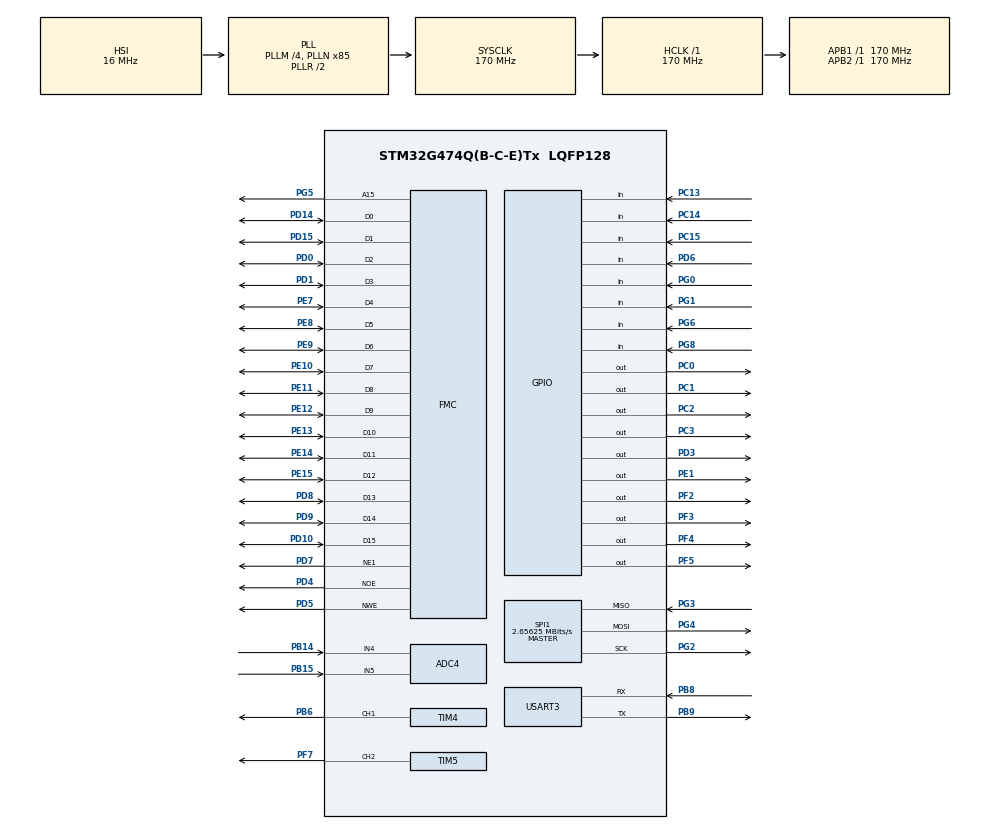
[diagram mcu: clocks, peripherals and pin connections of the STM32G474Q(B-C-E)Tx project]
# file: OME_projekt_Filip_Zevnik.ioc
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ADC4.Channel-0\#ChannelRegularConversion=ADC_CHANNEL_4
ADC4.Channel-1\#ChannelRegularConversion=ADC_CHANNEL_5
ADC4.DMAContinuousRequests=ENABLE
ADC4.ExternalTrigConv=ADC_EXTERNALTRIG_T1_TRGO
ADC4.NbrOfConversion=2
ADC4.NbrOfConversionFlag=1
ADC4.OffsetNumber-0\#ChannelRegularConversion=ADC_OFFSET_NONE
ADC4.OffsetNumber-1\#ChannelRegularConversion=ADC_OFFSET_NONE
ADC4.Rank-0\#ChannelRegularConversion=1
ADC4.Rank-1\#ChannelRegularConversion=2
ADC4.SamplingTime-0\#ChannelRegularConversion=ADC_SAMPLETIME_640CYCLES_5
ADC4.SamplingTime-1\#ChannelRegularConversion=ADC_SAMPLETIME_640CYCLES_5
Dma.ADC4.1.Direction=DMA_PERIPH_TO_MEMORY
Dma.ADC4.1.EventEnable=DISABLE
Dma.ADC4.1.Instance=DMA1_Channel1
Dma.ADC4.1.MemDataAlignment=DMA_MDATAALIGN_HALFWORD
Dma.ADC4.1.MemInc=DMA_MINC_ENABLE
Dma.ADC4.1.Mode=DMA_CIRCULAR
Dma.ADC4.1.PeriphDataAlignment=DMA_PDATAALIGN_HALFWORD
Dma.ADC4.1.PeriphInc=DMA_PINC_DISABLE
Dma.ADC4.1.Polarity=HAL_DMAMUX_REQ_GEN_RISING
Dma.ADC4.1.Priority=DMA_PRIORITY_LOW
Dma.ADC4.1.RequestNumber=1
Dma.ADC4.1.SignalID=NONE
Dma.ADC4.1.SyncEnable=DISABLE
Dma.ADC4.1.SyncPolarity=HAL_DMAMUX_SYNC_NO_EVENT
Dma.ADC4.1.SyncRequestNumber=1
Dma.ADC4.1.SyncSignalID=NONE
Dma.MEMTOMEM.0.Direction=DMA_MEMORY_TO_MEMORY
Dma.MEMTOMEM.0.EventEnable=DISABLE
Dma.MEMTOMEM.0.Instance=DMA1_Channel2
Dma.MEMTOMEM.0.MemDataAlignment=DMA_MDATAALIGN_HALFWORD
Dma.MEMTOMEM.0.MemInc=DMA_MINC_DISABLE
Dma.MEMTOMEM.0.Mode=DMA_NORMAL
Dma.MEMTOMEM.0.PeriphDataAlignment=DMA_PDATAALIGN_HALFWORD
Dma.MEMTOMEM.0.PeriphInc=DMA_PINC_ENABLE
Dma.MEMTOMEM.0.Polarity=HAL_DMAMUX_REQ_GEN_RISING
Dma.MEMTOMEM.0.Priority=DMA_PRIORITY_LOW
Dma.MEMTOMEM.0.RequestNumber=1
Dma.MEMTOMEM.0.SignalID=NONE
Dma.MEMTOMEM.0.SyncEnable=DISABLE
Dma.MEMTOMEM.0.SyncPolarity=HAL_DMAMUX_SYNC_NO_EVENT
Dma.MEMTOMEM.0.SyncRequestNumber=1
Dma.MEMTOMEM.0.SyncSignalID=NONE
Dma.Request0=MEMTOMEM
Dma.Request1=ADC4
FMC.AddressSetupTime1=1
FMC.BusTurnAroundDuration1=1
FMC.DataHoldTime1=1
FMC.DataSetupTime1=1
Mcu.Family=STM32G4
Mcu.Name=STM32G474Q(B-C-E)Tx
Mcu.Package=LQFP128
NVIC.DMA1_Channel1_IRQn=true\:0\:0\:false\:false\:true\:false\:true
NVIC.DMA1_Channel2_IRQn=true\:0\:0\:false\:false\:true\:true\:true
NVIC.PriorityGroup=NVIC_PRIORITYGROUP_4
NVIC.TIM2_IRQn=true\:0\:0\:false\:false\:true\:true\:true
NVIC.TIM6_DAC_IRQn=true\:15\:0\:true\:false\:true\:true\:true
NVIC.USART3_IRQn=true\:0\:0\:false\:false\:true\:true\:true
PB14.Mode=IN4-Single-Ended
PB14.Signal=ADC4_IN4
PB15.Mode=IN5-Single-Ended
PB15.Signal=ADC4_IN5
PB6.Signal=S_TIM4_CH1
PB8-BOOT0.Mode=Asynchronous
PB8-BOOT0.Signal=USART3_RX
PB9.Mode=Asynchronous
PB9.Signal=USART3_TX
PC0.Signal=GPIO_Output
PC1.Signal=GPIO_Output
PC13.GPIO_PuPd=GPIO_PULLUP
PC13.Signal=GPIO_Input
PC14-OSC32_IN.GPIO_PuPd=GPIO_PULLUP
PC14-OSC32_IN.Signal=GPIO_Input
PC15-OSC32_OUT.GPIO_PuPd=GPIO_PULLUP
PC15-OSC32_OUT.Signal=GPIO_Input
PC2.Signal=GPIO_Output
PC3.GPIO_ModeDefaultOutputPP=GPIO_MODE_OUTPUT_PP
PC3.GPIO_PuPd=GPIO_PULLUP
PC3.Signal=GPIO_Output
PD0.Signal=FMC_D2_DA2
PD1.Signal=FMC_D3_DA3
PD10.Signal=FMC_D15_DA15
PD14.Signal=FMC_D0_DA0
PD15.Signal=FMC_D1_DA1
PD3.Signal=GPIO_Output
PD4.Signal=FMC_NOE
PD5.Signal=FMC_NWE
PD6.Signal=GPIO_Input
PD7.Mode=NorPsramChipSelect1_1
PD7.Signal=FMC_NE1
PD8.Signal=FMC_D13_DA13
PD9.Signal=FMC_D14_DA14
PE1.Signal=GPIO_Output
PE10.Signal=FMC_D7_DA7
PE11.Signal=FMC_D8_DA8
PE12.Signal=FMC_D9_DA9
PE13.Signal=FMC_D10_DA10
PE14.Signal=FMC_D11_DA11
PE15.Signal=FMC_D12_DA12
PE7.Signal=FMC_D4_DA4
PE8.Signal=FMC_D5_DA5
PE9.Signal=FMC_D6_DA6
PF2.Signal=GPIO_Output
PF3.Signal=GPIO_Output
PF4.Signal=GPIO_Output
PF5.Signal=GPIO_Output
PF7.Signal=S_TIM5_CH2
PG0.GPIO_Mode=GPIO_MODE_INPUT
PG0.GPIO_PuPd=GPIO_PULLUP
PG0.Signal=GPIO_Input
PG1.GPIO_Mode=GPIO_MODE_INPUT
PG1.GPIO_PuPd=GPIO_PULLUP
PG1.Signal=GPIO_Input
PG2.Mode=Full_Duplex_Master
PG2.Signal=SPI1_SCK
PG3.Mode=Full_Duplex_Master
PG3.Signal=SPI1_MISO
PG4.Mode=Full_Duplex_Master
PG4.Signal=SPI1_MOSI
PG5.Signal=FMC_A15
PG6.GPIO_Mode=GPIO_MODE_INPUT
PG6.GPIO_PuPd=GPIO_PULLUP
PG6.Signal=GPIO_Input
PG8.GPIO_Mode=GPIO_MODE_INPUT
PG8.GPIO_PuPd=GPIO_PULLUP
PG8.Signal=GPIO_Input
ProjectManager.HeapSize=0x200
ProjectManager.StackSize=0x400
ProjectManager.TargetToolchain=STM32CubeIDE
RCC.ADC12Freq_Value=170000000
RCC.ADC345Freq_Value=170000000
RCC.AHBFreq_Value=170000000
RCC.APB1Freq_Value=170000000
RCC.APB1TimFreq_Value=170000000
RCC.APB2Freq_Value=170000000
RCC.APB2TimFreq_Value=170000000
RCC.CK48CLockSelection=RCC_USBCLKSOURCE_HSI48
RCC.CortexFreq_Value=170000000
RCC.EXTERNAL_CLOCK_VALUE=12288000
RCC.HCLKFreq_Value=170000000
RCC.HSE_VALUE=8000000
RCC.HSI48_VALUE=48000000
RCC.HSI_VALUE=16000000
RCC.LSE_VALUE=32768
RCC.PLLM=RCC_PLLM_DIV4
RCC.PLLN=85
RCC.PLLQ=RCC_PLLQ_DIV6
RCC.SYSCLKFreq_VALUE=170000000
RCC.SYSCLKSource=RCC_SYSCLKSOURCE_PLLCLK
RCC.USBFreq_Value=48000000
RCC.VCOOutputFreq_Value=340000000
SH.FMC_A15.0=FMC_A15,A15_1
SH.FMC_D0_DA0.0=FMC_D0,16b-d1
SH.FMC_D10_DA10.0=FMC_D10,16b-d1
SH.FMC_D11_DA11.0=FMC_D11,16b-d1
SH.FMC_D12_DA12.0=FMC_D12,16b-d1
SH.FMC_D13_DA13.0=FMC_D13,16b-d1
SH.FMC_D14_DA14.0=FMC_D14,16b-d1
SH.FMC_D15_DA15.0=FMC_D15,16b-d1
SH.FMC_D1_DA1.0=FMC_D1,16b-d1
SH.FMC_D2_DA2.0=FMC_D2,16b-d1
SH.FMC_D3_DA3.0=FMC_D3,16b-d1
SH.FMC_D4_DA4.0=FMC_D4,16b-d1
SH.FMC_D5_DA5.0=FMC_D5,16b-d1
SH.FMC_D6_DA6.0=FMC_D6,16b-d1
SH.FMC_D7_DA7.0=FMC_D7,16b-d1
SH.FMC_D8_DA8.0=FMC_D8,16b-d1
SH.FMC_D9_DA9.0=FMC_D9,16b-d1
SH.FMC_NOE.0=FMC_NOE,Lcd1
SH.FMC_NWE.0=FMC_NWE,Lcd1
SH.S_TIM4_CH1.0=TIM4_CH1,PWM Generation1 CH1
SH.S_TIM5_CH2.0=TIM5_CH2,PWM Generation2 CH2
SPI1.BaudRatePrescaler=SPI_BAUDRATEPRESCALER_64
SPI1.CalculateBaudRate=2.65625 MBits/s
SPI1.DataSize=SPI_DATASIZE_8BIT
SPI1.Direction=SPI_DIRECTION_2LINES
SPI1.Mode=SPI_MODE_MASTER
SPI1.NSSPMode=SPI_NSS_PULSE_DISABLE
SPI1.VirtualType=VM_MASTER
TIM1.PeriodNoDither=9999
TIM1.TIM_MasterOutputTrigger=TIM_TRGO_UPDATE
TIM2.PeriodNoDither=10652
TIM2.Prescaler=1
TIM4.Channel-PWM\ Generation1\ CH1=TIM_CHANNEL_1
TIM4.PeriodNoDither=99
TIM4.Prescaler=1440
TIM5.Channel-PWM\ Generation2\ CH2=TIM_CHANNEL_2
TIM5.PeriodNoDither=255
TIM5.Prescaler=1
TIM6.PeriodNoDither=49999
TIM6.Prescaler=144
USART3.OverrunDisableParam=ADVFEATURE_OVERRUN_DISABLE
USART3.VirtualMode-Asynchronous=VM_ASYNC
VP_CORDIC_VS_CORDIC.Mode=CORDIC_Activate
VP_SYS_VS_DBSignals.Mode=DisableDeadBatterySignals
VP_TIM1_VS_ClockSourceINT.Mode=Internal
VP_TIM2_VS_ClockSourceINT.Mode=Internal
VP_TIM4_VS_ClockSourceINT.Mode=Internal
VP_TIM5_VS_ClockSourceINT.Mode=Internal
VP_TIM6_VS_ClockSourceINT.Mode=Enable_Timer
board=custom

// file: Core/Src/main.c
/* USER CODE BEGIN Header */
/**
 ******************************************************************************
 * @file           : main.c
 * @brief          : Main program body
 ******************************************************************************
 * @attention
 *
 * Copyright (c) 2022 STMicroelectronics.
 * All rights reserved.
 *
 * This software is licensed under terms that can be found in the LICENSE file
 * in the root directory of this software component.
 * If no LICENSE file comes with this software, it is provided AS-IS.
 *
 ******************************************************************************
 */
/* USER CODE END Header */
#include "main.h"

/* USER CODE BEGIN Includes */
#include "led.h"
#include "kbd.h"
#include "SCI.h"
#include "timing_utils.h"
#include "periodic_services.h"
#include "lcd.h"
#include "math.h"
#include <stdio.h>
#include <stdlib.h>
#include "ugui.h"
#include "podatki.h"
#include "pomozne_funkcije.h"
#include "ray_funkcije.h"
#include "joystick.h"
#include "map.h"

/* USER CODE END Includes */

ADC_HandleTypeDef hadc4;
DMA_HandleTypeDef hdma_adc4;

CORDIC_HandleTypeDef hcordic;

SPI_HandleTypeDef hspi1;

TIM_HandleTypeDef htim1;
TIM_HandleTypeDef htim2;
TIM_HandleTypeDef htim5;

DMA_HandleTypeDef hdma_memtomem_dma1_channel2;
SRAM_HandleTypeDef hsram1;

void SystemClock_Config(void);
static void MX_GPIO_Init(void);
static void MX_USART3_UART_Init(void);
static void MX_TIM6_Init(void);
static void MX_TIM4_Init(void);
static void MX_FMC_Init(void);
static void MX_DMA_Init(void);
static void MX_SPI1_Init(void);
static void MX_CORDIC_Init(void);
static void MX_ADC4_Init(void);
static void MX_TIM1_Init(void);
static void MX_TIM5_Init(void);
static void MX_TIM2_Init(void);

/* USER CODE BEGIN 0 */
int g_ccr2 = 0;
/* USER CODE END 0 */

int main(void) {

	/* MCU Configuration--------------------------------------------------------*/

	/* Reset of all peripherals, Initializes the Flash interface and the Systick. */
	HAL_Init();

	/* Configure the system clock */
	SystemClock_Config();

	/* Initialize all configured peripherals */
	MX_GPIO_Init();
	MX_USART3_UART_Init();
	MX_TIM6_Init();
	MX_TIM4_Init();
	MX_FMC_Init();
	MX_DMA_Init();
	MX_SPI1_Init();
	MX_CORDIC_Init();
	MX_TIM1_Init();
	MX_TIM5_Init();
	MX_TIM2_Init();
	/* USER CODE BEGIN 2 */
	MX_ADC4_Init();
	LED_init();
	KBD_init();
	SCI_init();
	PSERV_init();
	PSERV_enable();
	JOY_init(&hadc4, &htim1);
	LCD_Init();
	LCD_uGUI_init();
	HAL_TIM_PWM_Start(&htim5, TIM_CHANNEL_2);
	HAL_TIM_Base_Start_IT(&htim2);

	/*CORDIC_ConfigTypeDef cordic_config;
	 cordic_config.Function = CORDIC_FUNCTION_COSINE;
	 cordic_config.OutSize = CORDIC_OUTSIZE_32BITS;
	 cordic_config.InSize = CORDIC_OUTSIZE_32BITS;
	 cordic_config.Scale = CORDIC_SCALE_0;
	 //HAL_CORDIC_Configure(&hc, cordic_config);
	 float original_input = 3.31613;
	 int32_t input = (original_input/PI) * (1<<31);
	 int32_t result;
	 HAL_StatusTypeDef cordic_status = HAL_CORDIC_Calculate(&hcordic, &input, &result, 1, HAL_MAX_DELAY);

	 float square_root = (float)result / (float)(1 << 31);*/

	//DEFINIRAJ SPRITE
	/*sp[0].tip = 0; sp[0].map = 0; sp[0].x = 1.5 * Blocksize; sp[0].y = 5 * Blocksize; sp[0].sizeX = 128; sp[0].sizeY = 128; sp[0].life = 3;
	 sp[0].damadgedTime = 0; sp[0].damadgedTimeMax = 25;
	 sp[0].z = 20;
	 sp[1].tip = 0; sp[1].map = 0; sp[1].x = 2.5 * Blocksize; sp[1].y = 7.5 * Blocksize; sp[1].sizeX = 128; sp[1].sizeY = 128; sp[1].life = 3;
	 sp[1].damadgedTime = 0; sp[1].damadgedTimeMax = 300000;*/
//	for(int c = 0;c < 20;c++)
//	{
//		UG_PutChar('F', 10, c*15, C_RED, C_BLACK);
//		UG_PutChar('E', 20, c*15, C_RED, C_BLACK);
//
//		UG_PutChar('F', 280+10, c*15, C_RED, C_BLACK);
//		UG_PutChar('E', 280+20, c*15, C_RED, C_BLACK);
//	}
	init();
//	play_sound(0);
//	HAL_Delay(2000);
//	play_sound(1);
//	HAL_Delay(2000);
//	play_sound(2);
//	HAL_Delay(2000);
	//test_sprite();

	/* USER CODE END 2 */

	/* Infinite loop */
	/* USER CODE BEGIN WHILE */

	//ILI9341_SetDisplayWindow(0, 0, 240, 240);
	stopwatch_handle_t sw;
	TIMUT_stopwatch_set_time_mark(&sw);
	while (1) {
		//JOY_SCI_send_status();
		//printf("test");
		if (TIMUT_stopwatch_has_X_ms_passed(&sw, 30)) {
		TIMUT_stopwatch_set_time_mark(&sw);
			drawMap(&hcordic);
			shoot();
			drawSprites();
			drawGun();
			drawMiniMap();
			ILI9341_SetDisplayWindow(40, 0, 240, 240);
			ILI9341_SendData(pixels, 57600);
			TIMUT_stopwatch_set_time_mark(&sw);
//		TIMUT_stopwatch_update(&sw);
//		g_scaling = sw.elapsed_time;
		}

		/* USER CODE END WHILE */

	}
}

void SystemClock_Config(void) {
	RCC_OscInitTypeDef RCC_OscInitStruct = { 0 };
	RCC_ClkInitTypeDef RCC_ClkInitStruct = { 0 };

	/** Configure the main internal regulator output voltage
	 */
	HAL_PWREx_ControlVoltageScaling(PWR_REGULATOR_VOLTAGE_SCALE1_BOOST);
	/** Initializes the RCC Oscillators according to the specified parameters
	 * in the RCC_OscInitTypeDef structure.
	 */
	RCC_OscInitStruct.OscillatorType = RCC_OSCILLATORTYPE_HSI;
	RCC_OscInitStruct.HSIState = RCC_HSI_ON;
	RCC_OscInitStruct.HSICalibrationValue = RCC_HSICALIBRATION_DEFAULT;
	RCC_OscInitStruct.PLL.PLLState = RCC_PLL_ON;
	RCC_OscInitStruct.PLL.PLLSource = RCC_PLLSOURCE_HSI;
	RCC_OscInitStruct.PLL.PLLM = RCC_PLLM_DIV4;
	RCC_OscInitStruct.PLL.PLLN = 85;
	RCC_OscInitStruct.PLL.PLLP = RCC_PLLP_DIV2;
	RCC_OscInitStruct.PLL.PLLQ = RCC_PLLQ_DIV6;
	RCC_OscInitStruct.PLL.PLLR = RCC_PLLR_DIV2;
	if (HAL_RCC_OscConfig(&RCC_OscInitStruct) != HAL_OK) {
		Error_Handler();
	}
	/** Initializes the CPU, AHB and APB buses clocks
	 */
	RCC_ClkInitStruct.ClockType = RCC_CLOCKTYPE_HCLK | RCC_CLOCKTYPE_SYSCLK
			| RCC_CLOCKTYPE_PCLK1 | RCC_CLOCKTYPE_PCLK2;
	RCC_ClkInitStruct.SYSCLKSource = RCC_SYSCLKSOURCE_PLLCLK;
	RCC_ClkInitStruct.AHBCLKDivider = RCC_SYSCLK_DIV1;
	RCC_ClkInitStruct.APB1CLKDivider = RCC_HCLK_DIV1;
	RCC_ClkInitStruct.APB2CLKDivider = RCC_HCLK_DIV1;

	if (HAL_RCC_ClockConfig(&RCC_ClkInitStruct, FLASH_LATENCY_4) != HAL_OK) {
		Error_Handler();
	}
}

static void MX_ADC4_Init(void) {

	ADC_ChannelConfTypeDef sConfig = { 0 };

	/** Common config
	 */
	hadc4.Instance = ADC4;
	hadc4.Init.ClockPrescaler = ADC_CLOCK_SYNC_PCLK_DIV4;
	hadc4.Init.Resolution = ADC_RESOLUTION_12B;
	hadc4.Init.DataAlign = ADC_DATAALIGN_RIGHT;
	hadc4.Init.GainCompensation = 0;
	hadc4.Init.ScanConvMode = ADC_SCAN_ENABLE;
	hadc4.Init.EOCSelection = ADC_EOC_SINGLE_CONV;
	hadc4.Init.LowPowerAutoWait = DISABLE;
	hadc4.Init.ContinuousConvMode = DISABLE;
	hadc4.Init.NbrOfConversion = 2;
	hadc4.Init.DiscontinuousConvMode = DISABLE;
	hadc4.Init.ExternalTrigConv = ADC_EXTERNALTRIG_T1_TRGO;
	hadc4.Init.ExternalTrigConvEdge = ADC_EXTERNALTRIGCONVEDGE_RISING;
	hadc4.Init.DMAContinuousRequests = ENABLE;
	hadc4.Init.Overrun = ADC_OVR_DATA_PRESERVED;
	hadc4.Init.OversamplingMode = DISABLE;
	if (HAL_ADC_Init(&hadc4) != HAL_OK) {
		Error_Handler();
	}
	/** Configure Regular Channel
	 */
	sConfig.Channel = ADC_CHANNEL_4;
	sConfig.Rank = ADC_REGULAR_RANK_1;
	sConfig.SamplingTime = ADC_SAMPLETIME_640CYCLES_5;
	sConfig.SingleDiff = ADC_SINGLE_ENDED;
	sConfig.OffsetNumber = ADC_OFFSET_NONE;
	sConfig.Offset = 0;
	if (HAL_ADC_ConfigChannel(&hadc4, &sConfig) != HAL_OK) {
		Error_Handler();
	}
	/** Configure Regular Channel
	 */
	sConfig.Channel = ADC_CHANNEL_5;
	sConfig.Rank = ADC_REGULAR_RANK_2;
	if (HAL_ADC_ConfigChannel(&hadc4, &sConfig) != HAL_OK) {
		Error_Handler();
	}

}

static void MX_CORDIC_Init(void) {

	hcordic.Instance = CORDIC;
	if (HAL_CORDIC_Init(&hcordic) != HAL_OK) {
		Error_Handler();
	}

}

static void MX_SPI1_Init(void) {

	/* SPI1 parameter configuration*/
	hspi1.Instance = SPI1;
	hspi1.Init.Mode = SPI_MODE_MASTER;
	hspi1.Init.Direction = SPI_DIRECTION_2LINES;
	hspi1.Init.DataSize = SPI_DATASIZE_8BIT;
	hspi1.Init.CLKPolarity = SPI_POLARITY_LOW;
	hspi1.Init.CLKPhase = SPI_PHASE_1EDGE;
	hspi1.Init.NSS = SPI_NSS_SOFT;
	hspi1.Init.BaudRatePrescaler = SPI_BAUDRATEPRESCALER_64;
	hspi1.Init.FirstBit = SPI_FIRSTBIT_MSB;
	hspi1.Init.TIMode = SPI_TIMODE_DISABLE;
	hspi1.Init.CRCCalculation = SPI_CRCCALCULATION_DISABLE;
	hspi1.Init.CRCPolynomial = 7;
	hspi1.Init.CRCLength = SPI_CRC_LENGTH_DATASIZE;
	hspi1.Init.NSSPMode = SPI_NSS_PULSE_DISABLE;
	if (HAL_SPI_Init(&hspi1) != HAL_OK) {
		Error_Handler();
	}

}

static void MX_TIM1_Init(void) {

	TIM_ClockConfigTypeDef sClockSourceConfig = { 0 };
	TIM_MasterConfigTypeDef sMasterConfig = { 0 };

	htim1.Instance = TIM1;
	htim1.Init.Prescaler = 0;
	htim1.Init.CounterMode = TIM_COUNTERMODE_UP;
	htim1.Init.Period = 9999;
	htim1.Init.ClockDivision = TIM_CLOCKDIVISION_DIV1;
	htim1.Init.RepetitionCounter = 0;
	htim1.Init.AutoReloadPreload = TIM_AUTORELOAD_PRELOAD_DISABLE;
	if (HAL_TIM_Base_Init(&htim1) != HAL_OK) {
		Error_Handler();
	}
	sClockSourceConfig.ClockSource = TIM_CLOCKSOURCE_INTERNAL;
	if (HAL_TIM_ConfigClockSource(&htim1, &sClockSourceConfig) != HAL_OK) {
		Error_Handler();
	}
	sMasterConfig.MasterOutputTrigger = TIM_TRGO_UPDATE;
	sMasterConfig.MasterOutputTrigger2 = TIM_TRGO2_RESET;
	sMasterConfig.MasterSlaveMode = TIM_MASTERSLAVEMODE_DISABLE;
	if (HAL_TIMEx_MasterConfigSynchronization(&htim1, &sMasterConfig)
			!= HAL_OK) {
		Error_Handler();
	}

}

static void MX_TIM2_Init(void) {

	TIM_ClockConfigTypeDef sClockSourceConfig = { 0 };
	TIM_MasterConfigTypeDef sMasterConfig = { 0 };

	htim2.Instance = TIM2;
	htim2.Init.Prescaler = 1;
	htim2.Init.CounterMode = TIM_COUNTERMODE_UP;
	htim2.Init.Period = 10652;
	htim2.Init.ClockDivision = TIM_CLOCKDIVISION_DIV1;
	htim2.Init.AutoReloadPreload = TIM_AUTORELOAD_PRELOAD_DISABLE;
	if (HAL_TIM_Base_Init(&htim2) != HAL_OK) {
		Error_Handler();
	}
	sClockSourceConfig.ClockSource = TIM_CLOCKSOURCE_INTERNAL;
	if (HAL_TIM_ConfigClockSource(&htim2, &sClockSourceConfig) != HAL_OK) {
		Error_Handler();
	}
	sMasterConfig.MasterOutputTrigger = TIM_TRGO_RESET;
	sMasterConfig.MasterSlaveMode = TIM_MASTERSLAVEMODE_DISABLE;
	if (HAL_TIMEx_MasterConfigSynchronization(&htim2, &sMasterConfig)
			!= HAL_OK) {
		Error_Handler();
	}

}

static void MX_TIM4_Init(void) {

	LL_TIM_InitTypeDef TIM_InitStruct = { 0 };
	LL_TIM_OC_InitTypeDef TIM_OC_InitStruct = { 0 };

	LL_GPIO_InitTypeDef GPIO_InitStruct = { 0 };

	/* Peripheral clock enable */
	LL_APB1_GRP1_EnableClock(LL_APB1_GRP1_PERIPH_TIM4);

	TIM_InitStruct.Prescaler = 1440;
	TIM_InitStruct.CounterMode = LL_TIM_COUNTERMODE_UP;
	TIM_InitStruct.Autoreload = 99;
	TIM_InitStruct.ClockDivision = LL_TIM_CLOCKDIVISION_DIV1;
	LL_TIM_Init(TIM4, &TIM_InitStruct);
	LL_TIM_DisableARRPreload(TIM4);
	LL_TIM_SetClockSource(TIM4, LL_TIM_CLOCKSOURCE_INTERNAL);
	LL_TIM_OC_EnablePreload(TIM4, LL_TIM_CHANNEL_CH1);
	TIM_OC_InitStruct.OCMode = LL_TIM_OCMODE_PWM1;
	TIM_OC_InitStruct.OCState = LL_TIM_OCSTATE_DISABLE;
	TIM_OC_InitStruct.OCNState = LL_TIM_OCSTATE_DISABLE;
	TIM_OC_InitStruct.CompareValue = 0;
	TIM_OC_InitStruct.OCPolarity = LL_TIM_OCPOLARITY_HIGH;
	LL_TIM_OC_Init(TIM4, LL_TIM_CHANNEL_CH1, &TIM_OC_InitStruct);
	LL_TIM_OC_DisableFast(TIM4, LL_TIM_CHANNEL_CH1);
	LL_TIM_SetTriggerOutput(TIM4, LL_TIM_TRGO_RESET);
	LL_TIM_DisableMasterSlaveMode(TIM4);
	LL_AHB2_GRP1_EnableClock(LL_AHB2_GRP1_PERIPH_GPIOB);
	/**TIM4 GPIO Configuration
	 PB6   ------> TIM4_CH1
	 */
	GPIO_InitStruct.Pin = LL_GPIO_PIN_6;
	GPIO_InitStruct.Mode = LL_GPIO_MODE_ALTERNATE;
	GPIO_InitStruct.Speed = LL_GPIO_SPEED_FREQ_LOW;
	GPIO_InitStruct.OutputType = LL_GPIO_OUTPUT_PUSHPULL;
	GPIO_InitStruct.Pull = LL_GPIO_PULL_NO;
	GPIO_InitStruct.Alternate = LL_GPIO_AF_2;
	LL_GPIO_Init(GPIOB, &GPIO_InitStruct);

}

static void MX_TIM5_Init(void) {

	TIM_ClockConfigTypeDef sClockSourceConfig = { 0 };
	TIM_MasterConfigTypeDef sMasterConfig = { 0 };
	TIM_OC_InitTypeDef sConfigOC = { 0 };

	htim5.Instance = TIM5;
	htim5.Init.Prescaler = 1;
	htim5.Init.CounterMode = TIM_COUNTERMODE_UP;
	htim5.Init.Period = 255;
	htim5.Init.ClockDivision = TIM_CLOCKDIVISION_DIV1;
	htim5.Init.AutoReloadPreload = TIM_AUTORELOAD_PRELOAD_DISABLE;
	if (HAL_TIM_Base_Init(&htim5) != HAL_OK) {
		Error_Handler();
	}
	sClockSourceConfig.ClockSource = TIM_CLOCKSOURCE_INTERNAL;
	if (HAL_TIM_ConfigClockSource(&htim5, &sClockSourceConfig) != HAL_OK) {
		Error_Handler();
	}
	if (HAL_TIM_PWM_Init(&htim5) != HAL_OK) {
		Error_Handler();
	}
	sMasterConfig.MasterOutputTrigger = TIM_TRGO_RESET;
	sMasterConfig.MasterSlaveMode = TIM_MASTERSLAVEMODE_DISABLE;
	if (HAL_TIMEx_MasterConfigSynchronization(&htim5, &sMasterConfig)
			!= HAL_OK) {
		Error_Handler();
	}
	sConfigOC.OCMode = TIM_OCMODE_PWM1;
	sConfigOC.Pulse = 0;
	sConfigOC.OCPolarity = TIM_OCPOLARITY_HIGH;
	sConfigOC.OCFastMode = TIM_OCFAST_DISABLE;
	if (HAL_TIM_PWM_ConfigChannel(&htim5, &sConfigOC, TIM_CHANNEL_2)
			!= HAL_OK) {
		Error_Handler();
	}
	HAL_TIM_MspPostInit(&htim5);

}

static void MX_TIM6_Init(void) {

	LL_TIM_InitTypeDef TIM_InitStruct = { 0 };

	/* Peripheral clock enable */
	LL_APB1_GRP1_EnableClock(LL_APB1_GRP1_PERIPH_TIM6);

	/* TIM6 interrupt Init */
	NVIC_SetPriority(TIM6_DAC_IRQn,
			NVIC_EncodePriority(NVIC_GetPriorityGrouping(), 15, 0));
	NVIC_EnableIRQ(TIM6_DAC_IRQn);

	TIM_InitStruct.Prescaler = 144;
	TIM_InitStruct.CounterMode = LL_TIM_COUNTERMODE_UP;
	TIM_InitStruct.Autoreload = 49999;
	LL_TIM_Init(TIM6, &TIM_InitStruct);
	LL_TIM_DisableARRPreload(TIM6);
	LL_TIM_SetTriggerOutput(TIM6, LL_TIM_TRGO_RESET);
	LL_TIM_DisableMasterSlaveMode(TIM6);

}

static void MX_USART3_UART_Init(void) {

	LL_USART_InitTypeDef USART_InitStruct = { 0 };

	LL_GPIO_InitTypeDef GPIO_InitStruct = { 0 };
	RCC_PeriphCLKInitTypeDef PeriphClkInit = { 0 };

	/** Initializes the peripherals clocks
	 */
	PeriphClkInit.PeriphClockSelection = RCC_PERIPHCLK_USART3;
	PeriphClkInit.Usart3ClockSelection = RCC_USART3CLKSOURCE_PCLK1;
	if (HAL_RCCEx_PeriphCLKConfig(&PeriphClkInit) != HAL_OK) {
		Error_Handler();
	}

	/* Peripheral clock enable */
	LL_APB1_GRP1_EnableClock(LL_APB1_GRP1_PERIPH_USART3);

	LL_AHB2_GRP1_EnableClock(LL_AHB2_GRP1_PERIPH_GPIOB);
	/**USART3 GPIO Configuration
	 PB8-BOOT0   ------> USART3_RX
	 PB9   ------> USART3_TX
	 */
	GPIO_InitStruct.Pin = LL_GPIO_PIN_8;
	GPIO_InitStruct.Mode = LL_GPIO_MODE_ALTERNATE;
	GPIO_InitStruct.Speed = LL_GPIO_SPEED_FREQ_LOW;
	GPIO_InitStruct.OutputType = LL_GPIO_OUTPUT_PUSHPULL;
	GPIO_InitStruct.Pull = LL_GPIO_PULL_NO;
	GPIO_InitStruct.Alternate = LL_GPIO_AF_7;
	LL_GPIO_Init(GPIOB, &GPIO_InitStruct);

	GPIO_InitStruct.Pin = LL_GPIO_PIN_9;
	GPIO_InitStruct.Mode = LL_GPIO_MODE_ALTERNATE;
	GPIO_InitStruct.Speed = LL_GPIO_SPEED_FREQ_LOW;
	GPIO_InitStruct.OutputType = LL_GPIO_OUTPUT_PUSHPULL;
	GPIO_InitStruct.Pull = LL_GPIO_PULL_NO;
	GPIO_InitStruct.Alternate = LL_GPIO_AF_7;
	LL_GPIO_Init(GPIOB, &GPIO_InitStruct);

	/* USART3 interrupt Init */
	NVIC_SetPriority(USART3_IRQn,
			NVIC_EncodePriority(NVIC_GetPriorityGrouping(), 0, 0));
	NVIC_EnableIRQ(USART3_IRQn);

	USART_InitStruct.PrescalerValue = LL_USART_PRESCALER_DIV1;
	USART_InitStruct.BaudRate = 115200;
	USART_InitStruct.DataWidth = LL_USART_DATAWIDTH_8B;
	USART_InitStruct.StopBits = LL_USART_STOPBITS_1;
	USART_InitStruct.Parity = LL_USART_PARITY_NONE;
	USART_InitStruct.TransferDirection = LL_USART_DIRECTION_TX_RX;
	USART_InitStruct.HardwareFlowControl = LL_USART_HWCONTROL_NONE;
	USART_InitStruct.OverSampling = LL_USART_OVERSAMPLING_16;
	LL_USART_Init(USART3, &USART_InitStruct);
	LL_USART_SetTXFIFOThreshold(USART3, LL_USART_FIFOTHRESHOLD_1_8);
	LL_USART_SetRXFIFOThreshold(USART3, LL_USART_FIFOTHRESHOLD_1_8);
	LL_USART_DisableFIFO(USART3);
	LL_USART_DisableOverrunDetect(USART3);
	LL_USART_ConfigAsyncMode(USART3);

	LL_USART_Enable(USART3);

	/* Polling USART3 initialisation */
	while ((!(LL_USART_IsActiveFlag_TEACK(USART3)))
			|| (!(LL_USART_IsActiveFlag_REACK(USART3)))) {
	}

}

static void MX_DMA_Init(void) {

	/* DMA controller clock enable */
	__HAL_RCC_DMAMUX1_CLK_ENABLE();
	__HAL_RCC_DMA1_CLK_ENABLE();

	/* Configure DMA request hdma_memtomem_dma1_channel2 on DMA1_Channel2 */
	hdma_memtomem_dma1_channel2.Instance = DMA1_Channel2;
	hdma_memtomem_dma1_channel2.Init.Request = DMA_REQUEST_MEM2MEM;
	hdma_memtomem_dma1_channel2.Init.Direction = DMA_MEMORY_TO_MEMORY;
	hdma_memtomem_dma1_channel2.Init.PeriphInc = DMA_PINC_ENABLE;
	hdma_memtomem_dma1_channel2.Init.MemInc = DMA_MINC_DISABLE;
	hdma_memtomem_dma1_channel2.Init.PeriphDataAlignment =
	DMA_PDATAALIGN_HALFWORD;
	hdma_memtomem_dma1_channel2.Init.MemDataAlignment = DMA_MDATAALIGN_HALFWORD;
	hdma_memtomem_dma1_channel2.Init.Mode = DMA_NORMAL;
	hdma_memtomem_dma1_channel2.Init.Priority = DMA_PRIORITY_LOW;
	if (HAL_DMA_Init(&hdma_memtomem_dma1_channel2) != HAL_OK) {
		Error_Handler();
	}

	/* DMA interrupt init */
	/* DMA1_Channel1_IRQn interrupt configuration */
	HAL_NVIC_SetPriority(DMA1_Channel1_IRQn, 0, 0);
	HAL_NVIC_EnableIRQ(DMA1_Channel1_IRQn);
	/* DMA1_Channel2_IRQn interrupt configuration */
	HAL_NVIC_SetPriority(DMA1_Channel2_IRQn, 0, 0);
	HAL_NVIC_EnableIRQ(DMA1_Channel2_IRQn);

}

/* FMC initialization function */
static void MX_FMC_Init(void) {

	FMC_NORSRAM_TimingTypeDef Timing = { 0 };

	/** Perform the SRAM1 memory initialization sequence
	 */
	hsram1.Instance = FMC_NORSRAM_DEVICE;
	hsram1.Extended = FMC_NORSRAM_EXTENDED_DEVICE;
	/* hsram1.Init */
	hsram1.Init.NSBank = FMC_NORSRAM_BANK1;
	hsram1.Init.DataAddressMux = FMC_DATA_ADDRESS_MUX_DISABLE;
	hsram1.Init.MemoryType = FMC_MEMORY_TYPE_SRAM;
	hsram1.Init.MemoryDataWidth = FMC_NORSRAM_MEM_BUS_WIDTH_16;
	hsram1.Init.BurstAccessMode = FMC_BURST_ACCESS_MODE_DISABLE;
	hsram1.Init.WaitSignalPolarity = FMC_WAIT_SIGNAL_POLARITY_LOW;
	hsram1.Init.WaitSignalActive = FMC_WAIT_TIMING_BEFORE_WS;
	hsram1.Init.WriteOperation = FMC_WRITE_OPERATION_ENABLE;
	hsram1.Init.WaitSignal = FMC_WAIT_SIGNAL_DISABLE;
	hsram1.Init.ExtendedMode = FMC_EXTENDED_MODE_DISABLE;
	hsram1.Init.AsynchronousWait = FMC_ASYNCHRONOUS_WAIT_DISABLE;
	hsram1.Init.WriteBurst = FMC_WRITE_BURST_DISABLE;
	hsram1.Init.ContinuousClock = FMC_CONTINUOUS_CLOCK_SYNC_ONLY;
	hsram1.Init.WriteFifo = FMC_WRITE_FIFO_ENABLE;
	hsram1.Init.NBLSetupTime = 0;
	hsram1.Init.PageSize = FMC_PAGE_SIZE_NONE;
	hsram1.Init.MaxChipSelectPulse = DISABLE;
	/* Timing */
	Timing.AddressSetupTime = 1;
	Timing.AddressHoldTime = 15;
	Timing.DataSetupTime = 1;
	Timing.DataHoldTime = 1;
	Timing.BusTurnAroundDuration = 1;
	Timing.CLKDivision = 16;
	Timing.DataLatency = 17;
	Timing.AccessMode = FMC_ACCESS_MODE_A;
	/* ExtTiming */

	if (HAL_SRAM_Init(&hsram1, &Timing, NULL) != HAL_OK) {
		Error_Handler();
	}

}

static void MX_GPIO_Init(void) {
	LL_GPIO_InitTypeDef GPIO_InitStruct = { 0 };

	/* GPIO Ports Clock Enable */
	LL_AHB2_GRP1_EnableClock(LL_AHB2_GRP1_PERIPH_GPIOC);
	LL_AHB2_GRP1_EnableClock(LL_AHB2_GRP1_PERIPH_GPIOF);
	LL_AHB2_GRP1_EnableClock(LL_AHB2_GRP1_PERIPH_GPIOE);
	LL_AHB2_GRP1_EnableClock(LL_AHB2_GRP1_PERIPH_GPIOB);
	LL_AHB2_GRP1_EnableClock(LL_AHB2_GRP1_PERIPH_GPIOD);
	LL_AHB2_GRP1_EnableClock(LL_AHB2_GRP1_PERIPH_GPIOG);

	/**/
	LL_GPIO_ResetOutputPin(GPIOF, LL_GPIO_PIN_3);

	/**/
	LL_GPIO_ResetOutputPin(GPIOF, LL_GPIO_PIN_4);

	/**/
	LL_GPIO_ResetOutputPin(GPIOF, LL_GPIO_PIN_5);

	/**/
	LL_GPIO_ResetOutputPin(GPIOC, LL_GPIO_PIN_0);

	/**/
	LL_GPIO_ResetOutputPin(GPIOC, LL_GPIO_PIN_1);

	/**/
	LL_GPIO_ResetOutputPin(GPIOC, LL_GPIO_PIN_2);

	/**/
	LL_GPIO_ResetOutputPin(GPIOC, LL_GPIO_PIN_3);

	/**/
	LL_GPIO_ResetOutputPin(GPIOF, LL_GPIO_PIN_2);

	/**/
	LL_GPIO_ResetOutputPin(GPIOD, LL_GPIO_PIN_3);

	/**/
	LL_GPIO_ResetOutputPin(GPIOE, LL_GPIO_PIN_1);

	/**/
	GPIO_InitStruct.Pin = LL_GPIO_PIN_13;
	GPIO_InitStruct.Mode = LL_GPIO_MODE_INPUT;
	GPIO_InitStruct.Pull = LL_GPIO_PULL_UP;
	LL_GPIO_Init(GPIOC, &GPIO_InitStruct);

	/**/
	GPIO_InitStruct.Pin = LL_GPIO_PIN_14;
	GPIO_InitStruct.Mode = LL_GPIO_MODE_INPUT;
	GPIO_InitStruct.Pull = LL_GPIO_PULL_UP;
	LL_GPIO_Init(GPIOC, &GPIO_InitStruct);

	/**/
	GPIO_InitStruct.Pin = LL_GPIO_PIN_15;
	GPIO_InitStruct.Mode = LL_GPIO_MODE_INPUT;
	GPIO_InitStruct.Pull = LL_GPIO_PULL_UP;
	LL_GPIO_Init(GPIOC, &GPIO_InitStruct);

	/**/
	GPIO_InitStruct.Pin = LL_GPIO_PIN_3;
	GPIO_InitStruct.Mode = LL_GPIO_MODE_OUTPUT;
	GPIO_InitStruct.Speed = LL_GPIO_SPEED_FREQ_LOW;
	GPIO_InitStruct.OutputType = LL_GPIO_OUTPUT_PUSHPULL;
	GPIO_InitStruct.Pull = LL_GPIO_PULL_NO;
	LL_GPIO_Init(GPIOF, &GPIO_InitStruct);

	/**/
	GPIO_InitStruct.Pin = LL_GPIO_PIN_4;
	GPIO_InitStruct.Mode = LL_GPIO_MODE_OUTPUT;
	GPIO_InitStruct.Speed = LL_GPIO_SPEED_FREQ_LOW;
	GPIO_InitStruct.OutputType = LL_GPIO_OUTPUT_PUSHPULL;
	GPIO_InitStruct.Pull = LL_GPIO_PULL_NO;
	LL_GPIO_Init(GPIOF, &GPIO_InitStruct);

	/**/
	GPIO_InitStruct.Pin = LL_GPIO_PIN_5;
	GPIO_InitStruct.Mode = LL_GPIO_MODE_OUTPUT;
	GPIO_InitStruct.Speed = LL_GPIO_SPEED_FREQ_LOW;
	GPIO_InitStruct.OutputType = LL_GPIO_OUTPUT_PUSHPULL;
	GPIO_InitStruct.Pull = LL_GPIO_PULL_NO;
	LL_GPIO_Init(GPIOF, &GPIO_InitStruct);

	/**/
	GPIO_InitStruct.Pin = LL_GPIO_PIN_0;
	GPIO_InitStruct.Mode = LL_GPIO_MODE_OUTPUT;
	GPIO_InitStruct.Speed = LL_GPIO_SPEED_FREQ_LOW;
	GPIO_InitStruct.OutputType = LL_GPIO_OUTPUT_PUSHPULL;
	GPIO_InitStruct.Pull = LL_GPIO_PULL_NO;
	LL_GPIO_Init(GPIOC, &GPIO_InitStruct);

	/**/
	GPIO_InitStruct.Pin = LL_GPIO_PIN_1;
	GPIO_InitStruct.Mode = LL_GPIO_MODE_OUTPUT;
	GPIO_InitStruct.Speed = LL_GPIO_SPEED_FREQ_LOW;
	GPIO_InitStruct.OutputType = LL_GPIO_OUTPUT_PUSHPULL;
	GPIO_InitStruct.Pull = LL_GPIO_PULL_NO;
	LL_GPIO_Init(GPIOC, &GPIO_InitStruct);

	/**/
	GPIO_InitStruct.Pin = LL_GPIO_PIN_2;
	GPIO_InitStruct.Mode = LL_GPIO_MODE_OUTPUT;
	GPIO_InitStruct.Speed = LL_GPIO_SPEED_FREQ_LOW;
	GPIO_InitStruct.OutputType = LL_GPIO_OUTPUT_PUSHPULL;
	GPIO_InitStruct.Pull = LL_GPIO_PULL_NO;
	LL_GPIO_Init(GPIOC, &GPIO_InitStruct);

	/**/
	GPIO_InitStruct.Pin = LL_GPIO_PIN_3;
	GPIO_InitStruct.Mode = LL_GPIO_MODE_OUTPUT;
	GPIO_InitStruct.Speed = LL_GPIO_SPEED_FREQ_LOW;
	GPIO_InitStruct.OutputType = LL_GPIO_OUTPUT_PUSHPULL;
	GPIO_InitStruct.Pull = LL_GPIO_PULL_UP;
	LL_GPIO_Init(GPIOC, &GPIO_InitStruct);

	/**/
	GPIO_InitStruct.Pin = LL_GPIO_PIN_2;
	GPIO_InitStruct.Mode = LL_GPIO_MODE_OUTPUT;
	GPIO_InitStruct.Speed = LL_GPIO_SPEED_FREQ_LOW;
	GPIO_InitStruct.OutputType = LL_GPIO_OUTPUT_PUSHPULL;
	GPIO_InitStruct.Pull = LL_GPIO_PULL_NO;
	LL_GPIO_Init(GPIOF, &GPIO_InitStruct);

	/**/
	GPIO_InitStruct.Pin = LL_GPIO_PIN_0;
	GPIO_InitStruct.Mode = LL_GPIO_MODE_INPUT;
	GPIO_InitStruct.Pull = LL_GPIO_PULL_UP;
	LL_GPIO_Init(GPIOG, &GPIO_InitStruct);

	/**/
	GPIO_InitStruct.Pin = LL_GPIO_PIN_1;
	GPIO_InitStruct.Mode = LL_GPIO_MODE_INPUT;
	GPIO_InitStruct.Pull = LL_GPIO_PULL_UP;
	LL_GPIO_Init(GPIOG, &GPIO_InitStruct);

	/**/
	GPIO_InitStruct.Pin = LL_GPIO_PIN_6;
	GPIO_InitStruct.Mode = LL_GPIO_MODE_INPUT;
	GPIO_InitStruct.Pull = LL_GPIO_PULL_UP;
	LL_GPIO_Init(GPIOG, &GPIO_InitStruct);

	/**/
	GPIO_InitStruct.Pin = LL_GPIO_PIN_8;
	GPIO_InitStruct.Mode = LL_GPIO_MODE_INPUT;
	GPIO_InitStruct.Pull = LL_GPIO_PULL_UP;
	LL_GPIO_Init(GPIOG, &GPIO_InitStruct);

	/**/
	GPIO_InitStruct.Pin = LL_GPIO_PIN_3;
	GPIO_InitStruct.Mode = LL_GPIO_MODE_OUTPUT;
	GPIO_InitStruct.Speed = LL_GPIO_SPEED_FREQ_LOW;
	GPIO_InitStruct.OutputType = LL_GPIO_OUTPUT_PUSHPULL;
	GPIO_InitStruct.Pull = LL_GPIO_PULL_NO;
	LL_GPIO_Init(GPIOD, &GPIO_InitStruct);

	/**/
	GPIO_InitStruct.Pin = LL_GPIO_PIN_6;
	GPIO_InitStruct.Mode = LL_GPIO_MODE_INPUT;
	GPIO_InitStruct.Pull = LL_GPIO_PULL_NO;
	LL_GPIO_Init(GPIOD, &GPIO_InitStruct);

	/**/
	GPIO_InitStruct.Pin = LL_GPIO_PIN_1;
	GPIO_InitStruct.Mode = LL_GPIO_MODE_OUTPUT;
	GPIO_InitStruct.Speed = LL_GPIO_SPEED_FREQ_LOW;
	GPIO_InitStruct.OutputType = LL_GPIO_OUTPUT_PUSHPULL;
	GPIO_InitStruct.Pull = LL_GPIO_PULL_NO;
	LL_GPIO_Init(GPIOE, &GPIO_InitStruct);

}

/* USER CODE BEGIN 4 */
void HAL_TIM_PeriodElapsedCallback(TIM_HandleTypeDef *htim) {
	// Check which version of the timer triggered this callback and toggle LED
	if (htim == &htim2) {
		if (sound_counter < sound_limit) {
			if (sound_select == 0)
				TIM5->CCR2 = sample1[sound_counter];
			else if (sound_select == 1)
				TIM5->CCR2 = sample2[sound_counter];
			else if (sound_select == 2)
				TIM5->CCR2 = sample3[sound_counter];
			else if (sound_select == 3)
				TIM5->CCR2 = sample4[sound_counter];
			sound_counter++;
		}
	}
}
/* USER CODE END 4 */

void Error_Handler(void) {
	__disable_irq();
	while (1) {
	}
}
